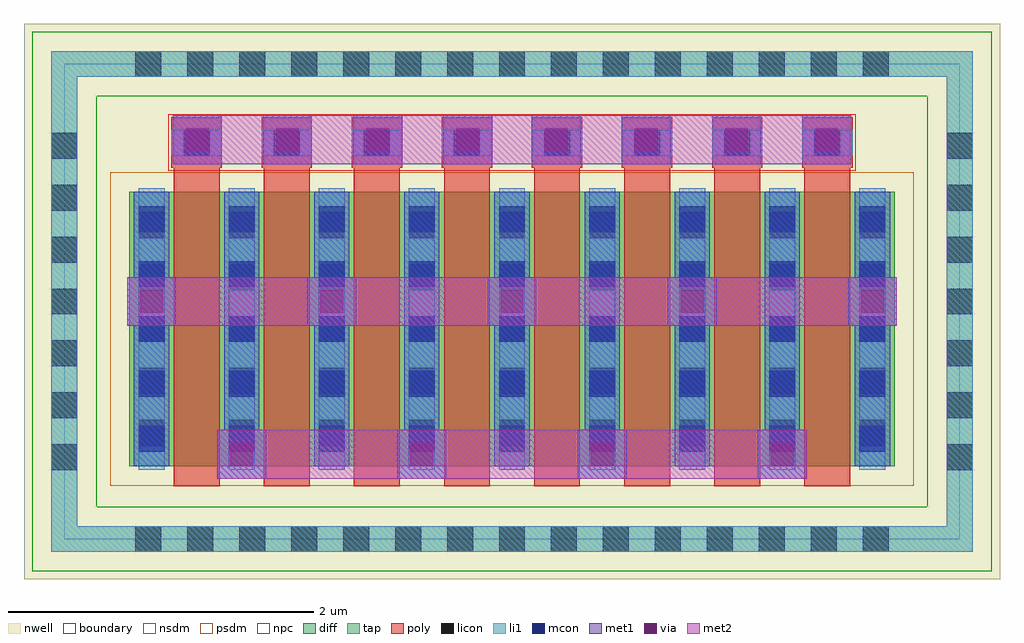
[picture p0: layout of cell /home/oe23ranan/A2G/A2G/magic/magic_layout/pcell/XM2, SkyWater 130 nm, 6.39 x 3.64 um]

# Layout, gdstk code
import gdstk
lib = gdstk.Library(unit=1e-6, precision=1e-09)
def R(c, l, rs):  # rectangles x0, y0, x1, y1
    for r in rs: c.add(gdstk.rectangle(r[:2], r[2:], *l))
def A(c, l, x, y, w, h, nx, ny, dx, dy):  # array of equal rectangles
    R(c, l, [(x+i*dx, y+j*dy, x+i*dx+w, y+j*dy+h) for i in range(nx) for j in range(ny)])
nwell = (64, 20)
diff = (65, 20)
tap = (65, 44)
poly = (66, 20)
licon = (66, 44)
li1 = (67, 20)
mcon = (67, 44)
met1 = (68, 20)
via = (68, 44)
met2 = (69, 20)
nsdm = (93, 44)
psdm = (94, 20)
npc = (95, 20)
boundary = (235, 4)

via_m1_m2_1 = lib.new_cell('via_M1_M2_1')
R(via_m1_m2_1, met1, [(-0.16,-0.16,0.16,0.16)])
R(via_m1_m2_1, via, [(-0.075,-0.075,0.075,0.075)])
R(via_m1_m2_1, met2, [(-0.16,-0.16,0.16,0.16)])

xm2_origin = lib.new_cell('XM2_origin')
R(xm2_origin, nwell, [(-3.195,-1.82,3.195,1.82)])
R(xm2_origin, diff, [(-2.505,-1.08,2.505,0.72)])
R(xm2_origin, tap, [(-3.015,-1.64,3.015,-1.47), (-3.015,-1.47,-2.845,1.47), (2.845,-1.47,3.015,1.47), (-3.015,1.47,3.015,1.64)])
A(xm2_origin, poly, -2.215, -1.21, 0.3, 2.085, 8, 1, 0.59, 0)
A(xm2_origin, poly, -2.23, 0.875, 0.33, 0.33, 8, 1, 0.59, 0)
A(xm2_origin, licon, -2.465, -1.64, 0.17, 0.17, 15, 2, 0.34, 3.11)
A(xm2_origin, licon, -3.015, -1.105, 0.17, 0.17, 1, 7, 0, 0.34)
A(xm2_origin, licon, 2.845, -1.105, 0.17, 0.17, 1, 7, 0, 0.34)
A(xm2_origin, licon, -2.445, -0.945, 0.17, 0.17, 9, 5, 0.59, 0.34)
A(xm2_origin, licon, -2.15, 0.955, 0.17, 0.17, 8, 1, 0.59, 0)
A(xm2_origin, li1, -2.445, -1.1, 0.17, 1.84, 9, 1, 0.59, 0)
A(xm2_origin, li1, -2.23, 0.955, 0.33, 0.17, 8, 1, 0.59, 0)
R(xm2_origin, li1, [(-3.015,-1.64,3.015,-1.47), (-3.015,-1.47,-2.845,1.47), (2.845,-1.47,3.015,1.47), (-3.015,1.47,3.015,1.64)])
A(xm2_origin, mcon, -2.445, -0.985, 0.17, 0.17, 9, 5, 0.59, 0.36)
A(xm2_origin, mcon, -2.15, 0.955, 0.17, 0.17, 8, 1, 0.59, 0)
A(xm2_origin, met1, -2.475, -1.08, 0.23, 1.8, 9, 1, 0.59, 0)
A(xm2_origin, met1, -2.21, 0.925, 0.29, 0.23, 8, 1, 0.59, 0)
R(xm2_origin, nsdm, [(-3.14,-1.765,3.14,-1.345), (-3.14,-1.345,-2.72,1.345), (2.72,-1.345,3.14,1.345), (-3.14,1.345,3.14,1.765)])
R(xm2_origin, psdm, [(-2.63,-1.205,2.63,0.845)])
R(xm2_origin, npc, [(-2.25,0.855,2.25,1.225)])
R(xm2_origin, boundary, [(-2.93,-1.555,2.93,1.555)])
xm2_origin.add(gdstk.Label('G', (-2.065,1.04), layer=68, texttype=5))
xm2_origin.add(gdstk.Label('G', (-1.475,1.04), layer=68, texttype=5))
xm2_origin.add(gdstk.Label('G', (-0.885,1.04), layer=68, texttype=5))
xm2_origin.add(gdstk.Label('G', (-0.295,1.04), layer=68, texttype=5))
xm2_origin.add(gdstk.Label('G', (0.295,1.04), layer=68, texttype=5))
xm2_origin.add(gdstk.Label('G', (0.885,1.04), layer=68, texttype=5))
xm2_origin.add(gdstk.Label('G', (1.475,1.04), layer=68, texttype=5))
xm2_origin.add(gdstk.Label('G', (2.065,1.04), layer=68, texttype=5))
xm2_origin.add(gdstk.Label('D', (-2.36,-0.18), layer=68, texttype=5))
xm2_origin.add(gdstk.Label('S', (-1.77,-0.18), layer=68, texttype=5))
xm2_origin.add(gdstk.Label('D', (-1.18,-0.18), layer=68, texttype=5))
xm2_origin.add(gdstk.Label('S', (-0.59,-0.18), layer=68, texttype=5))
xm2_origin.add(gdstk.Label('D', (0,-0.18), layer=68, texttype=5))
xm2_origin.add(gdstk.Label('S', (0.59,-0.18), layer=68, texttype=5))
xm2_origin.add(gdstk.Label('D', (1.18,-0.18), layer=68, texttype=5))
xm2_origin.add(gdstk.Label('S', (1.77,-0.18), layer=68, texttype=5))
xm2_origin.add(gdstk.Label('D', (2.36,-0.18), layer=68, texttype=5))

c__home_oe23ranan_a2g_a2g_ = lib.new_cell('/home/oe23ranan/A2G/A2G/magic/magic_layout/pcell/XM2')
R(c__home_oe23ranan_a2g_a2g_, met2, [(-1.93,-1.16,1.93,-0.84), (-2.52,-0.16,2.52,0.16), (-2.22,0.9,2.22,1.22)])
c__home_oe23ranan_a2g_a2g_.add(gdstk.Reference(via_m1_m2_1, (-2.36,0)))
c__home_oe23ranan_a2g_a2g_.add(gdstk.Reference(via_m1_m2_1, (-1.18,0)))
c__home_oe23ranan_a2g_a2g_.add(gdstk.Reference(via_m1_m2_1, (0,0)))
c__home_oe23ranan_a2g_a2g_.add(gdstk.Reference(via_m1_m2_1, (1.18,0)))
c__home_oe23ranan_a2g_a2g_.add(gdstk.Reference(via_m1_m2_1, (2.36,0)))
c__home_oe23ranan_a2g_a2g_.add(gdstk.Reference(via_m1_m2_1, (-1.77,-1)))
c__home_oe23ranan_a2g_a2g_.add(gdstk.Reference(via_m1_m2_1, (-0.59,-1)))
c__home_oe23ranan_a2g_a2g_.add(gdstk.Reference(via_m1_m2_1, (0.59,-1)))
c__home_oe23ranan_a2g_a2g_.add(gdstk.Reference(via_m1_m2_1, (1.77,-1)))
c__home_oe23ranan_a2g_a2g_.add(gdstk.Reference(via_m1_m2_1, (2.06,1.06)))
c__home_oe23ranan_a2g_a2g_.add(gdstk.Reference(via_m1_m2_1, (1.47,1.06)))
c__home_oe23ranan_a2g_a2g_.add(gdstk.Reference(via_m1_m2_1, (0.88,1.06)))
c__home_oe23ranan_a2g_a2g_.add(gdstk.Reference(via_m1_m2_1, (0.29,1.06)))
c__home_oe23ranan_a2g_a2g_.add(gdstk.Reference(via_m1_m2_1, (-0.29,1.06)))
c__home_oe23ranan_a2g_a2g_.add(gdstk.Reference(via_m1_m2_1, (-0.88,1.06)))
c__home_oe23ranan_a2g_a2g_.add(gdstk.Reference(via_m1_m2_1, (-1.47,1.06)))
c__home_oe23ranan_a2g_a2g_.add(gdstk.Reference(via_m1_m2_1, (-2.06,1.06)))
c__home_oe23ranan_a2g_a2g_.add(gdstk.Reference(xm2_origin, (0,0)))

lib.write_gds('_home_oe23ranan_A2G_A2G_magic_magic_layout_pcell_XM2.gds')
